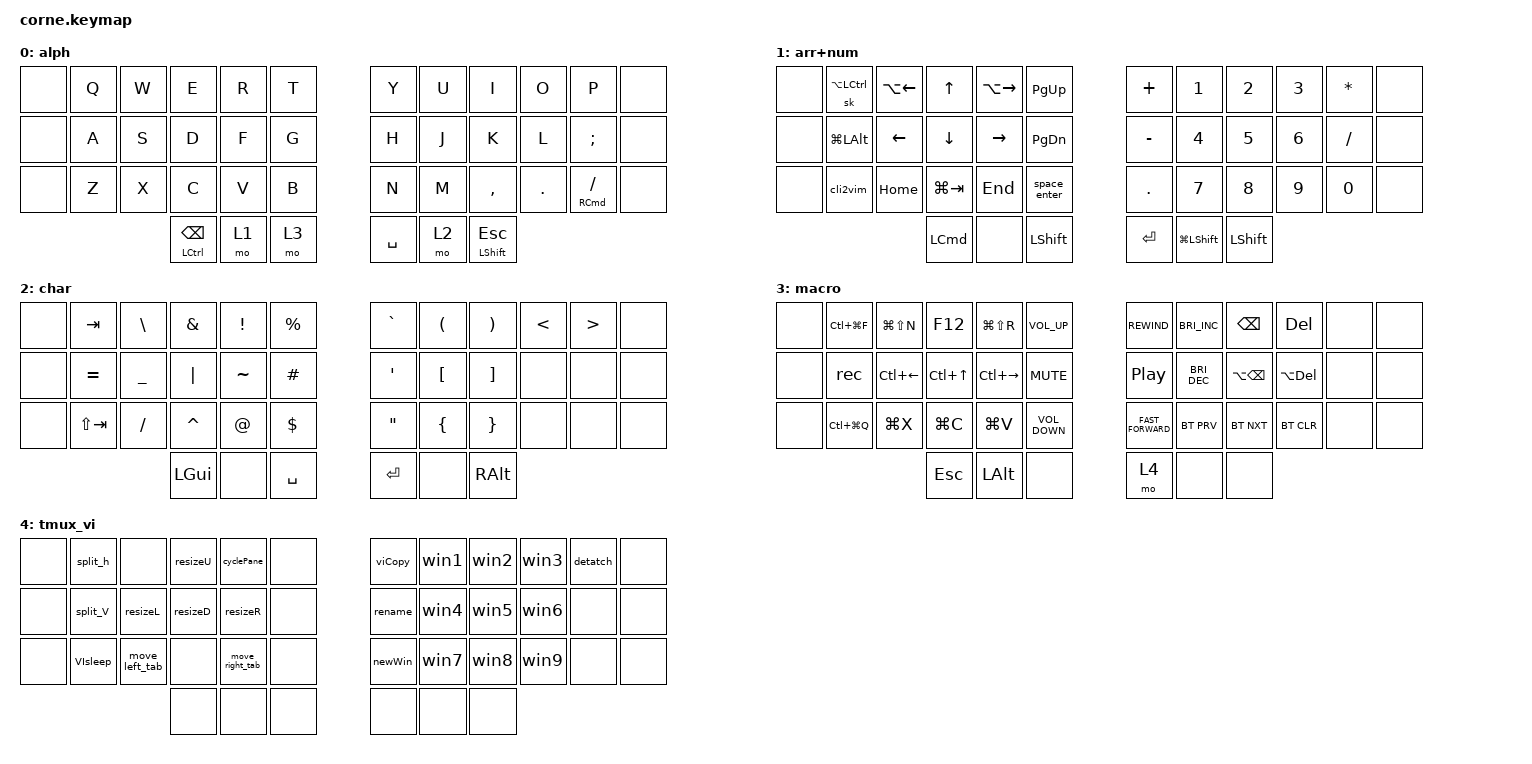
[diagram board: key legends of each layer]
/*
 * Copyright (c) 2020 The ZMK Contributors
 *
 * SPDX-License-Identifier: MIT
 */

#include <behaviors.dtsi>
#include <dt-bindings/zmk/bt.h>
#include <dt-bindings/zmk/keys.h>

/*&mt {
    bindings =
        <&mo>,
        <&kp>;
};*/

/ {
    macros {
        split_V: split_V {
            compatible = "zmk,behavior-macro";
            label = "SPLIT_V";
            #binding-cells = <0>;
            bindings = <&kp LC(B) &kp V>;
        };

        split_h: split_h {
            compatible = "zmk,behavior-macro";
            label = "SPLIT_H";
            #binding-cells = <0>;
            bindings = <&kp LC(B) &kp S>;
        };

        vim_write: vim_write {
            compatible = "zmk,behavior-macro";
            label = "VIM_WRITE";
            #binding-cells = <0>;
            bindings = <&kp COLON &kp W>;
        };

        vim_quit: vim_quit {
            compatible = "zmk,behavior-macro";
            label = "VIM_QUIT";
            #binding-cells = <0>;
            bindings = <&kp COLON &kp Q>;
        };

        detatch: detatch {
            compatible = "zmk,behavior-macro";
            #binding-cells = <0>;
            bindings = <&kp LC(B) &kp D>;
            label = "DETATCH";
        };

        resizeL: resizeL {
            compatible = "zmk,behavior-macro";
            #binding-cells = <0>;
            bindings = <&kp LC(B) &kp LESS_THAN>;
            label = "RESIZEL";
        };

        resizeR: resizeR {
            compatible = "zmk,behavior-macro";
            #binding-cells = <0>;
            bindings = <&kp LC(B) &kp GREATER_THAN>;
            label = "RESIZER";
        };

        resizeD: resizeD {
            compatible = "zmk,behavior-macro";
            #binding-cells = <0>;
            bindings = <&kp LC(B) &kp MINUS>;
            label = "RESIZED";
        };

        resizeU: resizeU {
            compatible = "zmk,behavior-macro";
            #binding-cells = <0>;
            bindings = <&kp LC(B) &kp PLUS>;
            label = "RESIZEU";
        };

        VIsleep: VIsleep {
            compatible = "zmk,behavior-macro";
            #binding-cells = <0>;
            bindings = <&kp LC(B) &kp T>;
            label = "VISLEEP";
        };

        viCopy: viCopy {
            compatible = "zmk,behavior-macro";
            #binding-cells = <0>;
            bindings = <&kp LC(B) &kp LEFT_BRACKET>;
            label = "VICOPY";
        };

        newWin: newWin {
            compatible = "zmk,behavior-macro";
            #binding-cells = <0>;
            bindings = <&kp LC(B) &kp C>;
            label = "NEWWIN";
        };

        win1: win1 {
            compatible = "zmk,behavior-macro";
            #binding-cells = <0>;
            bindings = <&kp LC(B) &kp NUMBER_1>;
            label = "WIN1";
        };

        win2: win2 {
            compatible = "zmk,behavior-macro";
            #binding-cells = <0>;
            bindings = <&kp LC(B) &kp NUMBER_2>;
            label = "WIN2";
        };

        win3: win3 {
            compatible = "zmk,behavior-macro";
            #binding-cells = <0>;
            bindings = <&kp LC(B) &kp NUMBER_3>;
            label = "WIN3";
        };

        win4: win4 {
            compatible = "zmk,behavior-macro";
            #binding-cells = <0>;
            bindings = <&kp LC(B) &kp NUMBER_4>;
            label = "WIN4";
        };

        win5: win5 {
            compatible = "zmk,behavior-macro";
            #binding-cells = <0>;
            bindings = <&kp LC(B) &kp NUMBER_5>;
            label = "WIN5";
        };

        win6: win6 {
            compatible = "zmk,behavior-macro";
            #binding-cells = <0>;
            bindings = <&kp LC(B) &kp NUMBER_6>;
            label = "WIN6";
        };

        win7: win7 {
            compatible = "zmk,behavior-macro";
            #binding-cells = <0>;
            bindings = <&kp LC(B) &kp NUMBER_7>;
            label = "WIN7";
        };

        win8: win8 {
            compatible = "zmk,behavior-macro";
            #binding-cells = <0>;
            bindings = <&kp LC(B) &kp NUMBER_8>;
            label = "WIN8";
        };

        win9: win9 {
            compatible = "zmk,behavior-macro";
            #binding-cells = <0>;
            bindings = <&kp LC(B) &kp NUMBER_9>;
            label = "WIN9";
        };

        rename: rename {
            compatible = "zmk,behavior-macro";
            #binding-cells = <0>;
            bindings = <&kp LC(B) &kp R>;
            label = "RENAME";
        };

        cyclePane: cyclePane {
            compatible = "zmk,behavior-macro";
            #binding-cells = <0>;
            bindings = <&kp LC(B) &kp SPACE>;
            label = "CYCLEPANE";
        };

        cli2vim: cli2vim {
            compatible = "zmk,behavior-macro";
            #binding-cells = <0>;
            bindings = <&kp LC(X) &kp LC(E)>;
            label = "CLI2VIM";
        };

        move_left_tab: move_left_tab {
            compatible = "zmk,behavior-macro";
            label = "MOVE_LEFT_TAB";
            #binding-cells = <0>;
            bindings = <&kp LC(B) &kp LS(H)>;
        };

        move_right_tab: move_right_tab {
            compatible = "zmk,behavior-macro";
            label = "MOVE_RIGHT_TAB";
            #binding-cells = <0>;
            bindings = <&kp LC(B) &kp LS(L)>;
        };
    };

    behaviors {
        a_tab: a_tab {
            compatible = "zmk,behavior-tap-dance";
            label = "A_TAB";
            #binding-cells = <0>;
            bindings = <&kp A>, <&kp TAB>;
        };

        quote: quote {
            compatible = "zmk,behavior-tap-dance";
            label = "QUOTE";
            #binding-cells = <0>;
            bindings = <&kp SQT>, <&kp DOUBLE_QUOTES>, <&kp GRAVE>;
        };

        bracketL: bracketL {
            compatible = "zmk,behavior-tap-dance";
            label = "BRACKETL";
            #binding-cells = <0>;
            bindings =
                <&kp LEFT_PARENTHESIS>,
                <&kp LEFT_BRACKET>,
                <&kp LEFT_BRACE>;
        };

        bracketR: bracketR {
            compatible = "zmk,behavior-tap-dance";
            label = "BRACKETR";
            #binding-cells = <0>;
            bindings =
                <&kp RIGHT_PARENTHESIS>,
                <&kp RIGHT_BRACKET>,
                <&kp RIGHT_BRACE>;
        };

        w: w {
            compatible = "zmk,behavior-tap-dance";
            label = "W";
            #binding-cells = <0>;
            bindings = <&kp W>, <&vim_write>;
        };

        q: q {
            compatible = "zmk,behavior-tap-dance";
            label = "Q";
            #binding-cells = <0>;
            bindings = <&kp Q>, <&vim_quit>;
        };

        space_enter: space_enter {
            compatible = "zmk,behavior-tap-dance";
            label = "SPACE_ENTER";
            #binding-cells = <0>;
            bindings = <&kp SPACE>, <&kp ENTER>;
        };

        rec: rec {
            compatible = "zmk,behavior-tap-dance";
            label = "REC";
            #binding-cells = <0>;
            bindings = <&kp LC(LG(A))>, <&kp LS(LG(N5))>;
        };
    };

    combos {
        compatible = "zmk,combos";

        eq {
            bindings = <&kp EQUAL>;
            key-positions = <16 19>;
        };

        under_ {
            bindings = <&kp LG(SPACE)>;
            key-positions = <31 28>;
        };

        tab {
            bindings = <&kp LA(SPACE)>;
            key-positions = <4 7>;
        };
    };

    keymap {
        compatible = "zmk,keymap";

        default_layer {
            bindings = <
&none  &kp Q  &kp W  &kp E                       &kp R  &kp T    &kp Y      &kp U  &kp I                  &kp O       &kp P                    &none
&none  &kp A  &kp S  &kp D                       &kp F  &kp G    &kp H      &kp J  &kp K                  &kp L       &kp SEMI                 &none
&none  &kp Z  &kp X  &kp C                       &kp V  &kp B    &kp N      &kp M  &kp COMMA              &kp PERIOD  &mt RIGHT_COMMAND SLASH  &none
                     &mt LEFT_CONTROL BACKSPACE  &mo 1  &mo 3    &kp SPACE  &mo 2  &mt LEFT_SHIFT ESCAPE
            >;

            label = "alph";
        };

        num_dir {
            bindings = <
&none  &sk LA(LEFT_CONTROL)  &kp LA(LEFT_ARROW)  &kp UP_ARROW      &kp LA(RIGHT_ARROW)  &kp PAGE_UP       &kp PLUS   &kp N1              &kp N2          &kp N3  &kp ASTERISK  &none
&none  &kp LG(LEFT_ALT)      &kp LEFT_ARROW      &kp DOWN          &kp RIGHT            &kp PAGE_DOWN     &kp MINUS  &kp N4              &kp N5          &kp N6  &kp SLASH     &none
&none  &cli2vim              &kp HOME            &kp LG(TAB)       &kp END              &space_enter      &kp DOT    &kp N7              &kp N8          &kp N9  &kp N0        &none
                                                 &kp LEFT_COMMAND  &none                &kp LEFT_SHIFT    &kp RET    &kp LG(LEFT_SHIFT)  &kp LEFT_SHIFT
            >;

            label = "arr+num";
        };

        char {
            bindings = <
&none  &kp TAB      &kp BSLH        &kp AMPERSAND  &kp EXCLAMATION  &kp PRCNT     &kp GRAVE          &kp LEFT_PARENTHESIS  &kp RIGHT_PARENTHESIS  &kp LESS_THAN  &kp GREATER_THAN  &none
&none  &kp EQUAL    &kp UNDERSCORE  &kp PIPE       &kp TILDE        &kp HASH      &kp APOS           &kp LBKT              &kp RBKT               &none          &none             &none
&none  &kp LS(TAB)  &kp FSLH        &kp CARET      &kp AT_SIGN      &kp DOLLAR    &kp DOUBLE_QUOTES  &kp LEFT_BRACE        &kp RIGHT_BRACE        &none          &none             &none
                                    &kp LGUI       &none            &kp SPACE     &kp RET            &none                 &kp RALT
            >;

            label = "char";
        };

        short_Cuts {
            bindings = <
&none  &kp LC(LG(F))  &kp LG(LS(N))       &kp F12           &kp LG(LS(R))  &kp C_VOLUME_UP      &kp C_REWIND        &kp C_BRI_INC         &kp BACKSPACE      &kp DEL         &none  &none
&none  &rec           &kp LC(LEFT_ARROW)  &kp LC(UP_ARROW)  &kp LC(RIGHT)  &kp K_MUTE           &kp C_PLAY_PAUSE    &kp C_BRIGHTNESS_DEC  &kp LA(BACKSPACE)  &kp LA(DELETE)  &none  &none
&none  &kp LC(LG(Q))  &kp LG(X)           &kp LG(C)         &kp LG(V)      &kp C_VOLUME_DOWN    &kp C_FAST_FORWARD  &bt BT_PRV            &bt BT_NXT         &bt BT_CLR      &none  &none
                                          &kp ESCAPE        &kp LEFT_ALT   &none                &mo 4               &none                 &none
            >;

            label = "macro";
        };

        tmux_vi {
            bindings = <
&none  &split_h  &none           &resizeU  &cyclePane       &none    &viCopy  &win1  &win2  &win3  &detatch  &none
&none  &split_V  &resizeL        &resizeD  &resizeR         &none    &rename  &win4  &win5  &win6  &none     &none
&none  &VIsleep  &move_left_tab  &none     &move_right_tab  &none    &newWin  &win7  &win8  &win9  &none     &none
                                 &none     &none            &none    &none    &none  &none
            >;

            label = "tmux_vi";
        };
    };
};
